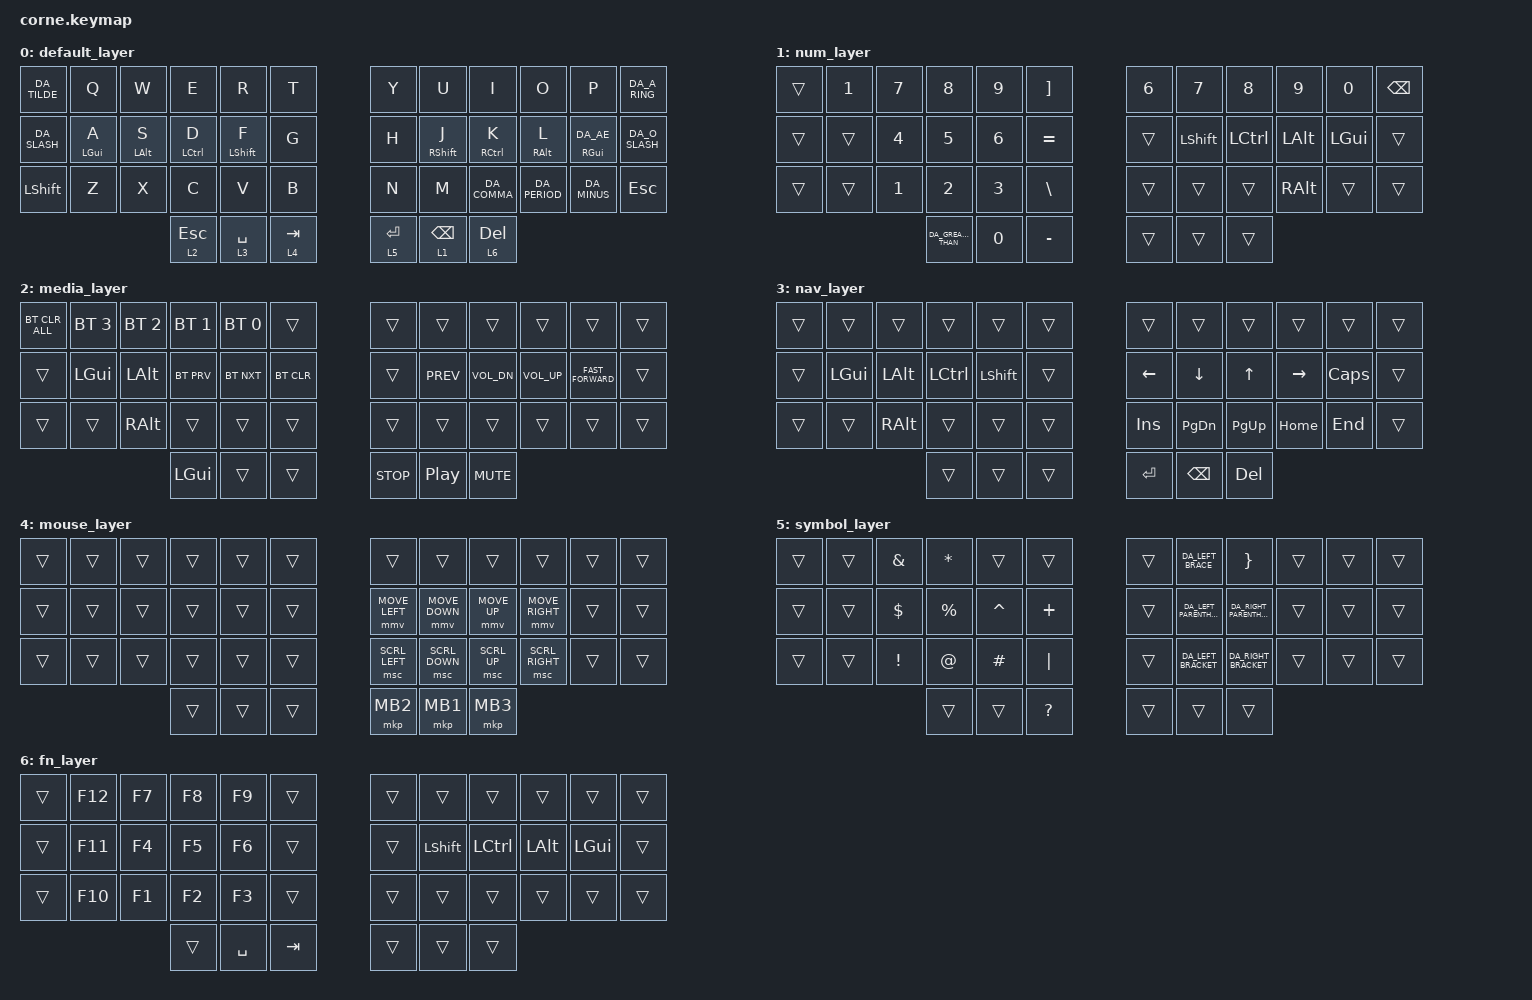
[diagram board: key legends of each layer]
/*
 * Copyright (c) 2020 The ZMK Contributors
 *
 * SPDX-License-Identifier: MIT
 */

#include <behaviors.dtsi>
#include <dt-bindings/zmk/keys.h>
#include <dt-bindings/zmk/pointing.h>
#include "keys_da.h"

/ {
    behaviors {
        hml: home_row_mod_left {
            compatible = "zmk,behavior-hold-tap";
            #binding-cells = <2>;
            flavor = "tap-preferred";
            tapping-term-ms = <150>;
            quick-tap-ms = <175>;                // Repeat keys easily
            require-prior-idle-ms = <150>;       // Prevents mods during fast "rolling"
            bindings = <&kp>, <&kp>;

            hold-trigger-key-positions = <6 7 8 9 10 11 18 19 20 21 22 23 30 31 32 33 34 35 39 40 41>;
            hold-trigger-on-release;             // Only trigger if you release the second key
        };

        hmr: home_row_mod_right {
            compatible = "zmk,behavior-hold-tap";
            #binding-cells = <2>;
            flavor = "tap-preferred";
            tapping-term-ms = <150>;
            quick-tap-ms = <175>;
            require-prior-idle-ms = <150>;
            bindings = <&kp>, <&kp>;

            hold-trigger-key-positions = <0 1 2 3 4 5 12 13 14 15 16 17 24 25 26 27 28 29 36 37 38>;
            hold-trigger-on-release;
        };
    };

    keymap {
        compatible = "zmk,keymap";

        default_layer {
            // -----------------------------------------------------------------------------------------
            // |  TAB |  Q  |  W  |  E  |  R  |  T  |   |  Y  |  U   |  I  |  O  |  P  | BSPC |
            // | CTRL |  A  |  S  |  D  |  F  |  G  |   |  H  |  J   |  K  |  L  |  ;  |  '   |
            // | SHFT |  Z  |  X  |  C  |  V  |  B  |   |  N  |  M   |  ,  |  .  |  /  | ESC  |
            //                    | GUI | LWR | SPC |   | ENT | RSE  | ALT |

            bindings = <
&kp DA_TILDE  &kp Q        &kp W        &kp E         &kp R         &kp T        &kp Y        &kp U            &kp I         &kp O          &kp P            &kp DA_A_RING
&kp DA_SLASH  &hml LGUI A  &hml LALT S  &hml LCTRL D  &hml LSHFT F  &kp G        &kp H        &hmr RSHFT J     &hmr RCTRL K  &hmr RALT L    &hmr RGUI DA_AE  &kp DA_O_SLASH
&kp LSHFT     &kp Z        &kp X        &kp C         &kp V         &kp B        &kp N        &kp M            &kp DA_COMMA  &kp DA_PERIOD  &kp DA_MINUS     &kp ESC
                                        &lt 2 ESCAPE  &lt 3 SPACE   &lt 4 TAB    &lt 5 ENTER  &lt 1 BACKSPACE  &lt 6 DELETE
            >;
        };

        num_layer {
            // -----------------------------------------------------------------------------------------
            // |  TAB |  1  |  2  |  3  |  4  |  5  |   |  6  |  7  |  8  |  9  |  0  | BSPC |
            // | BTCLR| BT1 | BT2 | BT3 | BT4 | BT5 |   | LFT | DWN |  UP | RGT |     |      |
            // | SHFT |     |     |     |     |     |   |     |     |     |     |     |      |
            //                    | GUI |     | SPC |   | ENT |     | ALT |

            bindings = <
&trans  &kp N1  &kp NUMBER_7  &kp NUMBER_8         &kp NUMBER_9  &kp RIGHT_BRACKET    &kp N6  &kp N7          &kp N8            &kp N9         &kp N0        &kp BSPC
&trans  &trans  &kp NUMBER_4  &kp NUMBER_5         &kp NUMBER_6  &kp EQUAL            &trans  &kp LEFT_SHIFT  &kp LEFT_CONTROL  &kp LEFT_ALT   &kp LEFT_GUI  &trans
&trans  &trans  &kp NUMBER_1  &kp N2               &kp NUMBER_3  &kp BACKSLASH        &trans  &trans          &trans            &kp RIGHT_ALT  &trans        &trans
                              &kp DA_GREATER_THAN  &kp NUMBER_0  &kp MINUS            &trans  &trans          &trans
            >;
        };

        media_layer {
            // -----------------------------------------------------------------------------------------
            // |  TAB |  !  |  @  |  #  |  $  |  %  |   |  ^  |  &  |  *  |  (  |  )  | BSPC |
            // | CTRL |     |     |     |     |     |   |  -  |  =  |  [  |  ]  |  \  |  `   |
            // | SHFT |     |     |     |     |     |   |  _  |  +  |  {  |  }  | "|" |  ~   |
            //                    | GUI |     | SPC |   | ENT |     | ALT |

            bindings = <
&bt BT_CLR_ALL  &bt BT_SEL 3  &bt BT_SEL 2   &bt BT_SEL 1   &bt BT_SEL 0 &trans    &trans      &trans            &trans        &trans        &trans              &trans
&trans  &kp LEFT_GUI  &kp LEFT_ALT   &bt BT_PRV  &bt BT_NXT &bt BT_CLR &trans      &kp C_PREV        &kp C_VOL_DN  &kp C_VOL_UP  &kp C_FAST_FORWARD  &trans
&trans  &trans        &kp RIGHT_ALT  &trans            &trans            &trans    &trans      &trans            &trans        &trans        &trans              &trans
                                     &kp LGUI          &trans            &trans    &kp C_STOP  &kp C_PLAY_PAUSE  &kp C_MUTE
            >;
        };

        nav_layer {
            bindings = <
&trans  &trans        &trans         &trans            &trans          &trans    &trans          &trans          &trans        &trans           &trans        &trans
&trans  &kp LEFT_GUI  &kp LEFT_ALT   &kp LEFT_CONTROL  &kp LEFT_SHIFT  &trans    &kp LEFT_ARROW  &kp DOWN_ARROW  &kp UP_ARROW  &kp RIGHT_ARROW  &kp CAPSLOCK  &trans
&trans  &trans        &kp RIGHT_ALT  &trans            &trans          &trans    &kp INSERT      &kp PAGE_DOWN   &kp PAGE_UP   &kp HOME         &kp END       &trans
                                     &trans            &trans          &trans    &kp ENTER       &kp BACKSPACE   &kp DELETE
            >;
        };

        mouse_layer {
            bindings = <
&trans  &trans  &trans  &trans  &trans  &trans    &trans          &trans          &trans        &trans           &trans  &trans
&trans  &trans  &trans  &trans  &trans  &trans    &mmv MOVE_LEFT  &mmv MOVE_DOWN  &mmv MOVE_UP  &mmv MOVE_RIGHT  &trans  &trans
&trans  &trans  &trans  &trans  &trans  &trans    &msc SCRL_LEFT  &msc SCRL_DOWN  &msc SCRL_UP  &msc SCRL_RIGHT  &trans  &trans
                        &trans  &trans  &trans    &mkp MB2        &mkp MB1        &mkp MB3
            >;
        };

        symbol_layer {
            bindings = <
&trans  &trans  &kp AMPERSAND  &kp STAR     &trans     &trans          &trans  &kp DA_LEFT_BRACE        &kp RIGHT_BRACE           &trans  &trans  &trans
&trans  &trans  &kp DOLLAR     &kp PERCENT  &kp CARET  &kp PLUS        &trans  &kp DA_LEFT_PARENTHESIS  &kp DA_RIGHT_PARENTHESIS  &trans  &trans  &trans
&trans  &trans  &kp EXCL       &kp AT       &kp HASH   &kp PIPE        &trans  &kp DA_LEFT_BRACKET      &kp DA_RIGHT_BRACKET      &trans  &trans  &trans
                               &trans       &trans     &kp QUESTION    &trans  &trans                   &trans
            >;
        };

        fn_layer {
            bindings = <
&trans  &kp F12  &kp F7  &kp F8  &kp F9     &trans     &trans  &trans          &trans            &trans        &trans        &trans
&trans  &kp F11  &kp F4  &kp F5  &kp F6     &trans     &trans  &kp LEFT_SHIFT  &kp LEFT_CONTROL  &kp LEFT_ALT  &kp LEFT_GUI  &trans
&trans  &kp F10  &kp F1  &kp F2  &kp F3     &trans     &trans  &trans          &trans            &trans        &trans        &trans
                         &trans  &kp SPACE  &kp TAB    &trans  &trans          &trans
            >;
        };
    };
};
